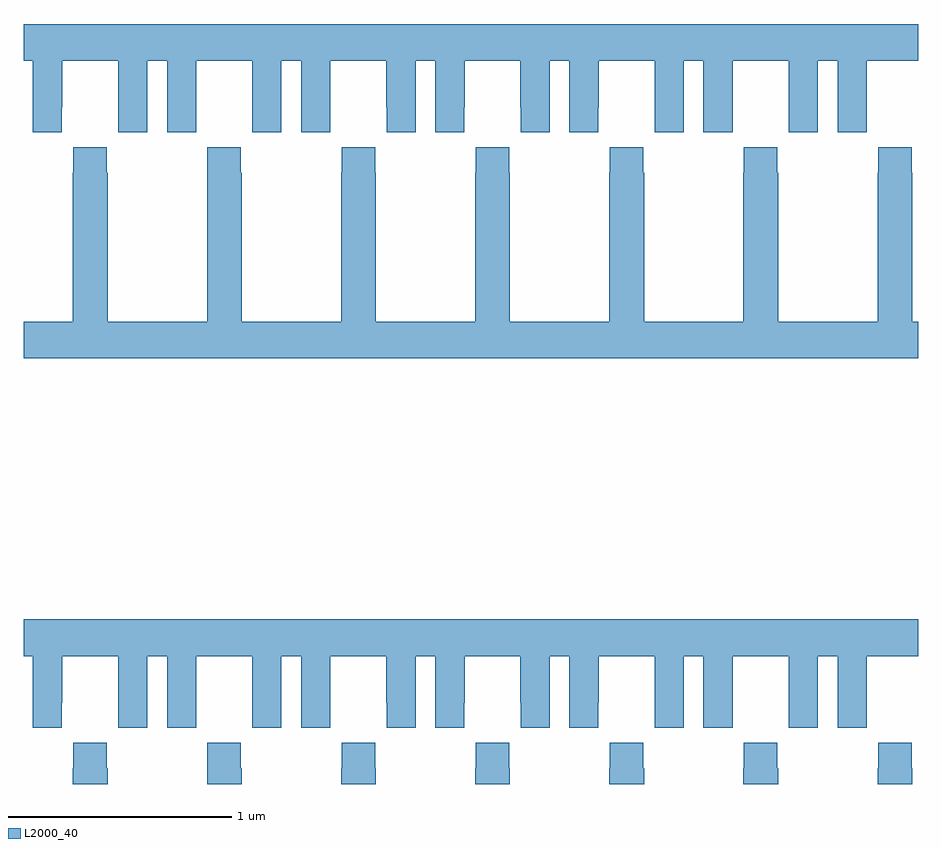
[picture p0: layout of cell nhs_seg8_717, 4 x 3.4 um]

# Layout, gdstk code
import gdstk
lib = gdstk.Library(unit=1e-6, precision=1e-09)
def P(c, l, *ps):  # polygons
    for p in ps: c.add(gdstk.Polygon(p, *l))
L2000_40 = (2000, 40)

nhs_seg8_717 = lib.new_cell('nhs_seg8_717')
P(nhs_seg8_717, L2000_40, [(157.17,1146.928),(157.171,1146.928),(157.171,1147.136),(157.421,1147.136),(157.421,1146.928),(157.422,1146.928),(157.422,1146.816),(157.552,1146.816),(157.552,1147.136),(157.64,1147.136),(157.64,1146.816),(157.77,1146.816),(157.77,1146.928),(157.771,1146.928),(157.771,1147.136),(158.021,1147.136),(158.021,1146.928),(158.022,1146.928),(158.022,1146.816),(158.152,1146.816),(158.152,1147.136),(158.24,1147.136),(158.24,1146.816),(158.37,1146.816),(158.37,1146.928),(158.371,1146.928),(158.371,1147.136),(158.621,1147.136),(158.621,1146.928),(158.622,1146.928),(158.622,1146.816),(158.752,1146.816),(158.752,1147.136),(158.84,1147.136),(158.84,1146.816),(158.97,1146.816),(158.97,1146.928),(158.971,1146.928),(158.971,1147.136),(159.221,1147.136),(159.221,1146.928),(159.222,1146.928),(159.222,1146.816),(159.352,1146.816),(159.352,1147.136),(159.44,1147.136),(159.44,1146.816),(159.57,1146.816),(159.57,1146.928),(159.571,1146.928),(159.571,1147.136),(159.821,1147.136),(159.821,1146.928),(159.822,1146.928),(159.822,1146.816),(159.952,1146.816),(159.952,1147.136),(160.04,1147.136),(160.04,1146.816),(160.17,1146.816),(160.17,1146.928),(160.171,1146.928),(160.171,1147.136),(160.421,1147.136),(160.421,1146.928),(160.422,1146.928),(160.422,1146.816),(160.552,1146.816),(160.552,1147.136),(160.64,1147.136),(160.64,1146.816),(160.77,1146.816),(160.77,1146.928),(160.771,1146.928),(160.771,1147.136),(161,1147.136),(161,1147.3),(157,1147.3),(157,1147.136),(157.04,1147.136),(157.04,1146.816),(157.17,1146.816)],
  [(161,1145.968),(160.974,1145.968),(160.974,1146.635),(160.971,1146.635),(160.971,1146.748),(160.821,1146.748),(160.821,1146.635),(160.819,1146.635),(160.819,1145.968),(160.374,1145.968),(160.374,1146.635),(160.371,1146.635),(160.371,1146.748),(160.221,1146.748),(160.221,1146.635),(160.219,1146.635),(160.219,1145.968),(159.774,1145.968),(159.774,1146.635),(159.771,1146.635),(159.771,1146.748),(159.621,1146.748),(159.621,1146.635),(159.619,1146.635),(159.619,1145.968),(159.174,1145.968),(159.174,1146.635),(159.171,1146.635),(159.171,1146.748),(159.021,1146.748),(159.021,1146.635),(159.019,1146.635),(159.019,1145.968),(158.574,1145.968),(158.574,1146.635),(158.571,1146.635),(158.571,1146.748),(158.421,1146.748),(158.421,1146.635),(158.419,1146.635),(158.419,1145.968),(157.974,1145.968),(157.974,1146.635),(157.971,1146.635),(157.971,1146.748),(157.821,1146.748),(157.821,1146.635),(157.819,1146.635),(157.819,1145.968),(157.374,1145.968),(157.374,1146.635),(157.371,1146.635),(157.371,1146.748),(157.221,1146.748),(157.221,1146.635),(157.219,1146.635),(157.219,1145.968),(157,1145.968),(157,1145.804),(161,1145.804)],
  [(157,1144.472),(157.04,1144.472),(157.04,1144.152),(157.17,1144.152),(157.17,1144.264),(157.171,1144.264),(157.171,1144.472),(157.421,1144.472),(157.421,1144.264),(157.422,1144.264),(157.422,1144.152),(157.552,1144.152),(157.552,1144.472),(157.64,1144.472),(157.64,1144.152),(157.77,1144.152),(157.77,1144.264),(157.771,1144.264),(157.771,1144.472),(158.021,1144.472),(158.021,1144.264),(158.022,1144.264),(158.022,1144.152),(158.152,1144.152),(158.152,1144.472),(158.24,1144.472),(158.24,1144.152),(158.37,1144.152),(158.37,1144.264),(158.371,1144.264),(158.371,1144.472),(158.621,1144.472),(158.621,1144.264),(158.622,1144.264),(158.622,1144.152),(158.752,1144.152),(158.752,1144.472),(158.84,1144.472),(158.84,1144.152),(158.97,1144.152),(158.97,1144.264),(158.971,1144.264),(158.971,1144.472),(159.221,1144.472),(159.221,1144.264),(159.222,1144.264),(159.222,1144.152),(159.352,1144.152),(159.352,1144.472),(159.44,1144.472),(159.44,1144.152),(159.57,1144.152),(159.57,1144.264),(159.571,1144.264),(159.571,1144.472),(159.821,1144.472),(159.821,1144.264),(159.822,1144.264),(159.822,1144.152),(159.952,1144.152),(159.952,1144.472),(160.04,1144.472),(160.04,1144.152),(160.17,1144.152),(160.17,1144.264),(160.171,1144.264),(160.171,1144.472),(160.421,1144.472),(160.421,1144.264),(160.422,1144.264),(160.422,1144.152),(160.552,1144.152),(160.552,1144.472),(160.64,1144.472),(160.64,1144.152),(160.77,1144.152),(160.77,1144.264),(160.771,1144.264),(160.771,1144.472),(161,1144.472),(161,1144.636),(157,1144.636)],
  [(160.374,1143.971),(160.371,1143.971),(160.371,1144.084),(160.221,1144.084),(160.221,1143.971),(160.219,1143.971),(160.219,1143.9),(160.374,1143.9)],
  [(160.974,1143.971),(160.971,1143.971),(160.971,1144.084),(160.821,1144.084),(160.821,1143.971),(160.819,1143.971),(160.819,1143.9),(160.974,1143.9)],
  [(159.774,1143.971),(159.771,1143.971),(159.771,1144.084),(159.621,1144.084),(159.621,1143.971),(159.619,1143.971),(159.619,1143.9),(159.774,1143.9)],
  [(159.174,1143.971),(159.171,1143.971),(159.171,1144.084),(159.021,1144.084),(159.021,1143.971),(159.019,1143.971),(159.019,1143.9),(159.174,1143.9)],
  [(158.574,1143.971),(158.571,1143.971),(158.571,1144.084),(158.421,1144.084),(158.421,1143.971),(158.419,1143.971),(158.419,1143.9),(158.574,1143.9)],
  [(157.974,1143.971),(157.971,1143.971),(157.971,1144.084),(157.821,1144.084),(157.821,1143.971),(157.819,1143.971),(157.819,1143.9),(157.974,1143.9)],
  [(157.374,1143.971),(157.371,1143.971),(157.371,1144.084),(157.221,1144.084),(157.221,1143.971),(157.219,1143.971),(157.219,1143.9),(157.374,1143.9)])

lib.write_gds('nhs_seg8_717.gds')
